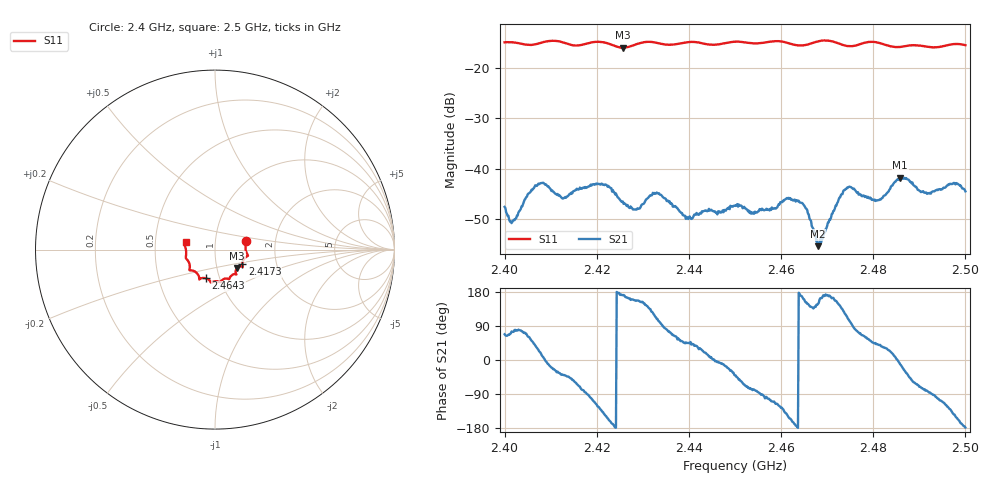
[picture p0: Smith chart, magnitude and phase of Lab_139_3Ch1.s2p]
# Hz S RI R 50
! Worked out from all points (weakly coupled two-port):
!   601 points, 2.4 GHz to 2.5 GHz, reference 50 ohm
!   highest |S21| = -41.78 dB at 2.4858 GHz (marker M1); lowest = -55.4 dB at 2.468 GHz (marker M2)
!   lowest |S11| = -15.9 dB at 2.4257 GHz (marker M3), VSWR 1.38, Z = 62.4 - j13.1 ohm
!   |S11| at or under -10 dB: start of sweep to end of sweep
!   S12 and S22 are empty: the file has one direction only
!   S11 on the Smith chart (normalised r, x): 2.4 GHz: 1.41, +0.14; 2.4173 GHz: 1.34, -0.23; 2.4643 GHz: 0.86, -0.28; 2.5 GHz: 0.72, +0.06
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2.4e9  0.1736 0.0494  0.00157 0.00387  0 0  0 0
2.402e9  0.175 0.0412  0.000814 0.00301  0 0  0 0
2.407833e9  0.1771 -0.0197  0.00683 0.00229  0 0  0 0
2.412833e9  0.1748 -0.0399  0.00391 -0.00328  0 0  0 0
2.416667e9  0.1526 -0.075  0.0014 -0.00627  0 0  0 0
2.417333e9  0.1521 -0.0823  0.000656 -0.0064  0 0  0 0
2.422e9  0.1514 -0.0944  -0.0059 -0.00371  0 0  0 0
2.425667e9  0.1224 -0.1024  -0.00468 0.000729  0 0  0 0
2.428833e9  0.1155 -0.1305  -0.00373 0.00158  0 0  0 0
2.433333e9  0.1125 -0.1366  -0.00136 0.00553  0 0  0 0
2.440167e9  0.0795 -0.1637  0.00242 0.00234  0 0  0 0
2.45e9  0.0295 -0.1807  0.00328 -0.00282  0 0  0 0
2.454e9  0.0102 -0.1759  0.000809 -0.00358  0 0  0 0
2.464333e9  -0.0501 -0.1603  -0.00452 0.000859  0 0  0 0
2.466667e9  -0.0761 -0.1596  -0.00204 0.00176  0 0  0 0
2.468e9  -0.0847 -0.164  -0.00144 0.000907  0 0  0 0
2.474167e9  -0.0987 -0.134  -0.00287 0.00561  0 0  0 0
2.480667e9  -0.1425 -0.1114  0.00361 0.00321  0 0  0 0
2.483333e9  -0.1405 -0.0896  0.00535 0.0026  0 0  0 0
2.485833e9  -0.149 -0.0644  0.00799 -0.00157  0 0  0 0
2.491667e9  -0.1608 -0.0288  0.000862 -0.00557  0 0  0 0
2.5e9  -0.1637 0.0418  -0.00597 -0.000176  0 0  0 0
